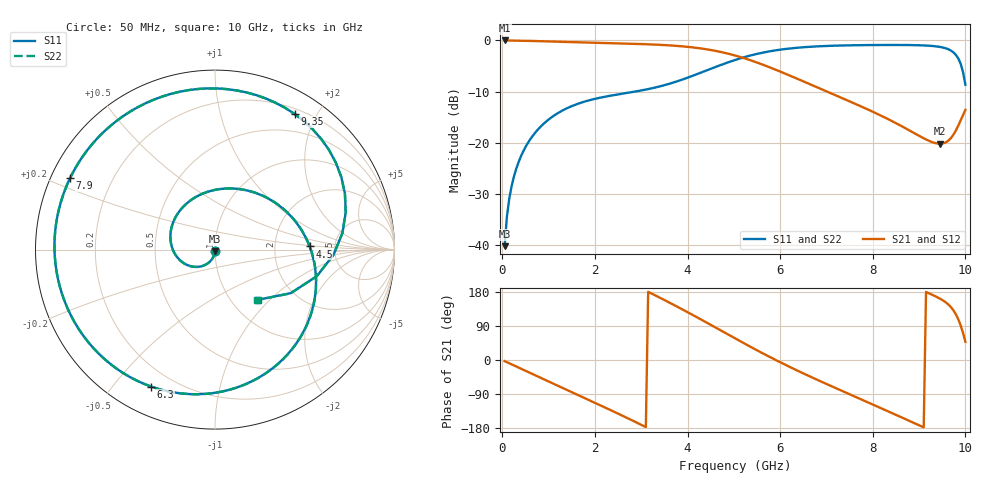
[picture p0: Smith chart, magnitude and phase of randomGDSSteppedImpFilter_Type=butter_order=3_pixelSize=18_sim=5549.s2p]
! freq	dB(S11)	phase(S11)	dB(S12)	phase(S12)
!  dB(S21)	phase(S21)	dB(S22)	phase(S22)
!S-par simulation data
#  GHz  S  DB  R 50
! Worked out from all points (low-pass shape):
!   200 points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, 50 MHz to 10 GHz, reference 50 ohm
!   highest |S21| = -0.01 dB at 50 MHz (marker M1); lowest = -20.2 dB at 9.45 GHz (marker M2)
!   |S21| within 3 dB of the highest: start of sweep to 5.049 GHz
!   lowest |S11| = -40.3 dB at 50 MHz (marker M3), VSWR 1.02, Z = 50 - j0.969 ohm
!   |S11| at or under -10 dB: start of sweep to 2.877 GHz
!   |S22| runs from -40.3 to -0.9 dB; largest |S21 - S12| = 0
!   S11 on the Smith chart (normalised r, x): 50 MHz: 1.00, -0.02; 4.5 GHz: 3.22, +0.16; 6.3 GHz: 0.12, -0.63; 7.9 GHz: 0.06, +0.23; 9.35 GHz: 0.26, +1.71; 10 GHz: 1.32, -0.85
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0.05  -40.27 -90.6  -0.01 -2.9  -0.01 -2.9  -40.27 -90.6
0.1  -34.45 -94.3  -0.01 -5.8  -0.01 -5.8  -34.45 -94.3
0.2  -28.58 -101.1  -0.03 -11.4  -0.03 -11.4  -28.58 -101.1
0.5  -20.89 -119.0  -0.08 -28.5  -0.08 -28.5  -20.89 -118.9
1.15  -14.51 -155.8  -0.24 -65.1  -0.24 -65.1  -14.51 -155.7
1.75  -12.05 170.4  -0.40 -98.7  -0.40 -98.7  -12.05 170.5
2.65  -10.35 118.8  -0.62 -150.2  -0.62 -150.2  -10.35 119.1
3.4  -9.00 73.5  -0.86 164.6  -0.86 164.6  -9.00 73.9
4  -7.30 35.2  -1.26 126.3  -1.26 126.3  -7.30 35.6
4.5  -5.56 1.9  -1.87 92.9  -1.87 92.9  -5.56 2.3
5.05  -3.76 -35.3  -3.01 55.5  -3.01 55.5  -3.76 -35.0
5.7  -2.26 -78.1  -5.00 12.8  -5.00 12.8  -2.26 -77.9
6.3  -1.49 -115.1  -7.23 -23.8  -7.23 -23.8  -1.49 -114.9
6.7  -1.22 -138.4  -8.79 -46.7  -8.79 -46.7  -1.22 -138.2
7.3  -1.00 -172.3  -11.14 -79.5  -11.14 -79.5  -1.00 -172.1
7.9  -0.91 153.7  -13.54 -111.9  -13.54 -111.9  -0.91 153.9
8.35  -0.89 127.3  -15.49 -136.5  -15.49 -136.5  -0.89 127.4
8.9  -0.92 92.6  -18.17 -166.8  -18.17 -166.8  -0.93 92.7
9.35  -1.15 59.6  -20.10 168.3  -20.10 168.3  -1.15 59.6
9.45  -1.27 50.9  -20.22 162.0  -20.22 162.0  -1.28 50.9
9.8  -2.89 7.5  -17.53 119.3  -17.53 119.3  -2.91 7.3
10  -8.67 -49.3  -13.59 48.0  -13.59 48.0  -8.76 -50.3
